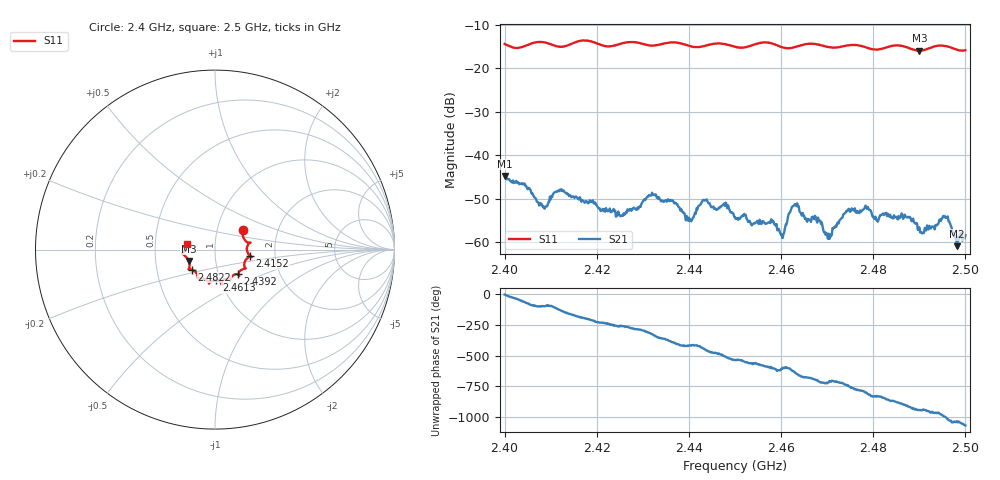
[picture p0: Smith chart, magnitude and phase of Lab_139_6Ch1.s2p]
# Hz S RI R 50
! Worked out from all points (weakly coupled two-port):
!   601 points, 2.4 GHz to 2.5 GHz, reference 50 ohm
!   highest |S21| = -44.75 dB at 2.4 GHz (marker M1); lowest = -60.9 dB at 2.4982 GHz (marker M2)
!   lowest |S11| = -15.9 dB at 2.49 GHz (marker M3), VSWR 1.38, Z = 36.9 - j4.84 ohm
!   |S11| at or under -10 dB: start of sweep to end of sweep
!   S12 and S22 are empty: the file has one direction only
!   S11 on the Smith chart (normalised r, x): 2.4 GHz: 1.33, +0.31; 2.4152 GHz: 1.48, -0.11; 2.4392 GHz: 1.24, -0.35; 2.4613 GHz: 0.96, -0.34; 2.4822 GHz: 0.76, -0.17; 2.5 GHz: 0.73, +0.05
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2.4e9  0.1557 0.1107  0.00575 -0.000607  0 0  0 0
2.408667e9  0.1955 0.0394  -0.000485 -0.00239  0 0  0 0
2.411833e9  0.1774 0.00874  -0.00242 -0.00302  0 0  0 0
2.415167e9  0.195 -0.0361  -0.00324 -0.000198  0 0  0 0
2.416667e9  0.2047 -0.0419  -0.00286 0.000655  0 0  0 0
2.425333e9  0.1664 -0.0987  -0.000278 0.002  0 0  0 0
2.433333e9  0.132 -0.132  0.00315 0.000398  0 0  0 0
2.439167e9  0.127 -0.1379  0.000969 -0.00179  0 0  0 0
2.4435e9  0.0879 -0.1595  -2.21e-05 -0.00302  0 0  0 0
2.45e9  0.0687 -0.1638  -0.00195 -0.000116  0 0  0 0
2.460167e9  0.0224 -0.1744  -0.000433 0.00115  0 0  0 0
2.461333e9  0.00704 -0.1706  -0.000897 0.00151  0 0  0 0
2.463e9  -0.0169 -0.1753  0.000335 0.00273  0 0  0 0
2.466667e9  -0.0334 -0.1895  0.0016 0.00112  0 0  0 0
2.4705e9  -0.0477 -0.1686  0.00106 0.000266  0 0  0 0
2.474333e9  -0.0882 -0.1609  0.00214 -0.000804  0 0  0 0
2.482167e9  -0.128 -0.1118  -0.00115 -0.00181  0 0  0 0
2.483333e9  -0.1392 -0.1103  -0.00157 -0.00135  0 0  0 0
2.49e9  -0.1468 -0.0638  -0.00111 0.000988  0 0  0 0
2.495667e9  -0.1799 -0.0194  0.000244 0.0019  0 0  0 0
2.498167e9  -0.1642 0.00228  0.000609 0.000668  0 0  0 0
2.5e9  -0.1584 0.0336  0.00118 0.000293  0 0  0 0
